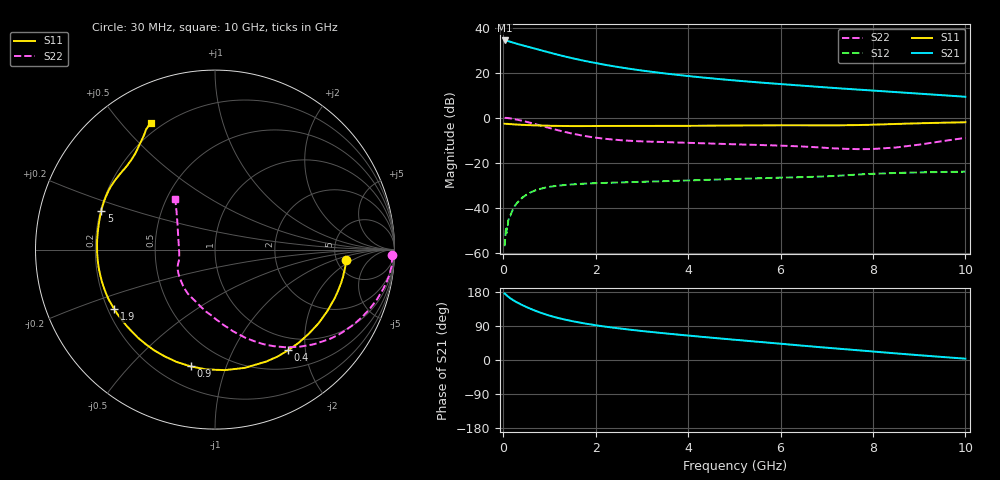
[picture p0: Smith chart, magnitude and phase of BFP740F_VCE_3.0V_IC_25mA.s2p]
! Infineon Technologies  Discrete & RF Semiconductors
! BFP740F
! VCE =  3.0 V,  IC =  25 mA
! Common Emitter S-Parameters:  Oct 2012
# GHz  S  MA  R  50
!  f  S11  S21  S12  S22
! GHz  MAG  ANG  MAG  ANG  MAG  ANG  MAG  ANG
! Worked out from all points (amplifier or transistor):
!   99 points, 30 MHz to 10 GHz, reference 50 ohm
!   highest |S21| = 34.3 dB at 30 MHz (marker M1)
!   |S21| within 3 dB of that: start of sweep to 573 MHz
!   unconditionally stable (mu >= 1): 5.589 GHz to end of sweep
!   at 350 MHz: K = 0.17, MSG = 34.6 dB, |S12| = -36.8 dB
!   at 3.5 GHz: K = 0.74, MSG = 23.9 dB, |S12| = -28.2 dB
!   at 10 GHz: K = 1.18, MAG = 14.1 dB, |S12| = -24.0 dB
!   S11 on the Smith chart (normalised r, x): 30 MHz: 6.10, -1.48; 400 MHz: 0.78, -1.68; 900 MHz: 0.33, -0.76; 1.9 GHz: 0.23, -0.26; 5 GHz: 0.20, +0.16; 10 GHz: 0.16, +0.60
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0.03  0.7322 -4.4  51.84 175.7  0.0014 85.0  0.9854 -1.9
0.07  0.7295 -10.3  51.31 171.3  0.0027 101.6  0.9869 -5.9
0.11  0.7251 -16.3  49.96 167.0  0.0053 83.0  0.9762 -9.7
0.15  0.7198 -22.1  48.58 163.2  0.0066 80.0  0.9624 -13.2
0.2  0.7134 -28.9  46.84 159.1  0.0087 75.9  0.9438 -17.2
0.3  0.702 -41.9  43.68 151.9  0.0128 70.9  0.9017 -24.6
0.4  0.6931 -54.1  40.97 145.6  0.0163 65.6  0.8564 -31.5
0.6  0.6795 -75.8  36.08 134.6  0.0221 56.0  0.7631 -43.7
0.7  0.6737 -85.3  33.86 129.7  0.0244 51.9  0.7167 -49.1
0.9  0.6647 -101.8  29.8 121.0  0.0278 45.2  0.6288 -58.8
1.1  0.6576 -115.3  26.28 113.7  0.0301 40.3  0.5527 -67.1
1.3  0.6531 -126.3  23.32 107.6  0.0317 36.4  0.4905 -74.3
1.5  0.6504 -135.3  20.86 102.4  0.033 33.7  0.4409 -80.7
1.7  0.6502 -142.9  18.82 97.8  0.034 31.4  0.4021 -86.6
1.9  0.6517 -149.3  17.11 93.8  0.0348 30.0  0.3715 -92.2
2.5  0.6548 -164.0  13.27 83.5  0.0365 27.0  0.3186 -106.9
3.4  0.6568 -178.8  9.87 71.5  0.0386 25.6  0.289 -121.2
5  0.6693 161.2  6.718 53.5  0.0434 25.7  0.2564 -138.1
5.1  0.6709 160.2  6.585 52.5  0.0437 25.5  0.2547 -139.3
6.7  0.6765 143.0  4.934 35.5  0.0485 25.9  0.2225 -158.1
8.5  0.7248 125.1  3.696 17.4  0.0592 23.0  0.2178 160.3
10  0.7913 117.0  2.913 3.5  0.0632 17.7  0.3562 128.4
